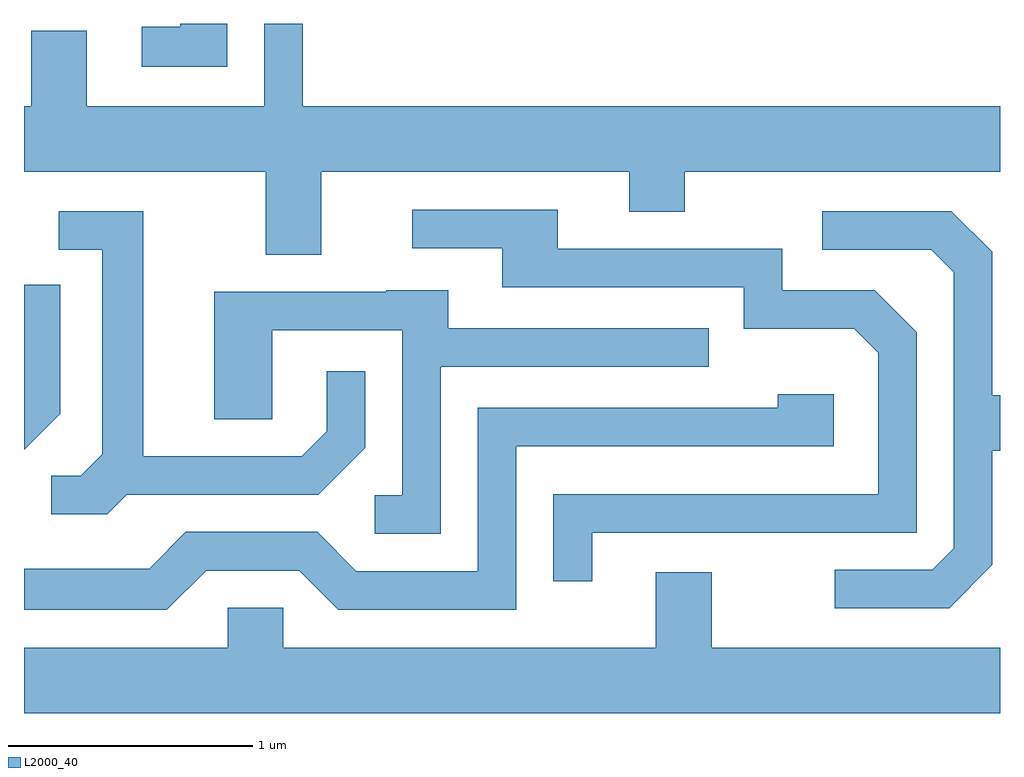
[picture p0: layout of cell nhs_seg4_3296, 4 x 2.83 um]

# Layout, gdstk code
import gdstk
lib = gdstk.Library(unit=1e-6, precision=1e-09)
def P(c, l, *ps):  # polygons
    for p in ps: c.add(gdstk.Polygon(p, *l))
L2000_40 = (2000, 40)

nhs_seg4_3296 = lib.new_cell('nhs_seg4_3296')
P(nhs_seg4_3296, L2000_40, [(282.444,1321.982),(282.251,1321.982),(282.251,1321.969),(282.093,1321.969),(282.093,1321.806),(282.444,1321.806)],
  [(282.829,1321.376),(284.091,1321.376),(284.091,1321.211),(284.319,1321.211),(284.319,1321.376),(285.611,1321.376),(285.611,1321.644),(282.754,1321.644),(282.754,1321.982),(282.596,1321.982),(282.596,1321.644),(281.869,1321.644),(281.869,1321.954),(281.641,1321.954),(281.641,1321.644),(281.611,1321.644),(281.611,1321.376),(282.601,1321.376),(282.601,1321.036),(282.829,1321.036)],
  [(283.939,1319.896),(285.269,1319.896),(285.269,1320.717),(285.097,1320.889),(284.719,1320.889),(284.719,1321.059),(283.799,1321.059),(283.799,1321.219),(283.203,1321.219),(283.203,1321.061),(283.571,1321.061),(283.571,1320.901),(284.561,1320.901),(284.561,1320.731),(285.014,1320.731),(285.111,1320.634),(285.111,1320.054),(283.781,1320.054),(283.781,1319.698),(283.939,1319.698)],
  [(285.579,1319.764),(285.579,1320.231),(285.611,1320.231),(285.611,1320.459),(285.579,1320.459),(285.579,1321.047),(285.412,1321.214),(284.883,1321.214),(284.883,1321.056),(285.329,1321.056),(285.421,1320.964),(285.421,1319.832),(285.334,1319.744),(284.933,1319.744),(284.933,1319.586),(285.402,1319.586)],
  [(282.032,1320.051),(282.817,1320.051),(283.009,1320.244),(283.009,1320.558),(282.851,1320.558),(282.851,1320.312),(282.749,1320.209),(282.099,1320.209),(282.099,1321.214),(281.753,1321.214),(281.753,1321.056),(281.931,1321.056),(281.931,1320.217),(281.844,1320.129),(281.723,1320.129),(281.723,1319.971),(281.952,1319.971)],
  [(281.759,1320.384),(281.759,1320.913),(281.611,1320.913),(281.611,1320.236)],
  [(283.319,1320.576),(284.418,1320.576),(284.418,1320.734),(283.349,1320.734),(283.349,1320.889),(283.095,1320.889),(283.095,1320.884),(282.391,1320.884),(282.391,1320.361),(282.629,1320.361),(282.629,1320.726),(283.161,1320.726),(283.161,1320.049),(283.048,1320.049),(283.048,1319.891),(283.319,1319.891)],
  [(282.357,1319.741),(282.739,1319.741),(282.899,1319.581),(283.629,1319.581),(283.629,1320.251),(284.929,1320.251),(284.929,1320.464),(284.701,1320.464),(284.701,1320.409),(283.471,1320.409),(283.471,1319.739),(282.972,1319.739),(282.812,1319.899),(282.274,1319.899),(282.124,1319.749),(281.611,1319.749),(281.611,1319.581),(282.197,1319.581)],
  [(285.611,1319.424),(284.429,1319.424),(284.429,1319.734),(284.201,1319.734),(284.201,1319.424),(282.674,1319.424),(282.674,1319.589),(282.446,1319.589),(282.446,1319.424),(281.611,1319.424),(281.611,1319.156),(285.611,1319.156)])

lib.write_gds('nhs_seg4_3296.gds')
